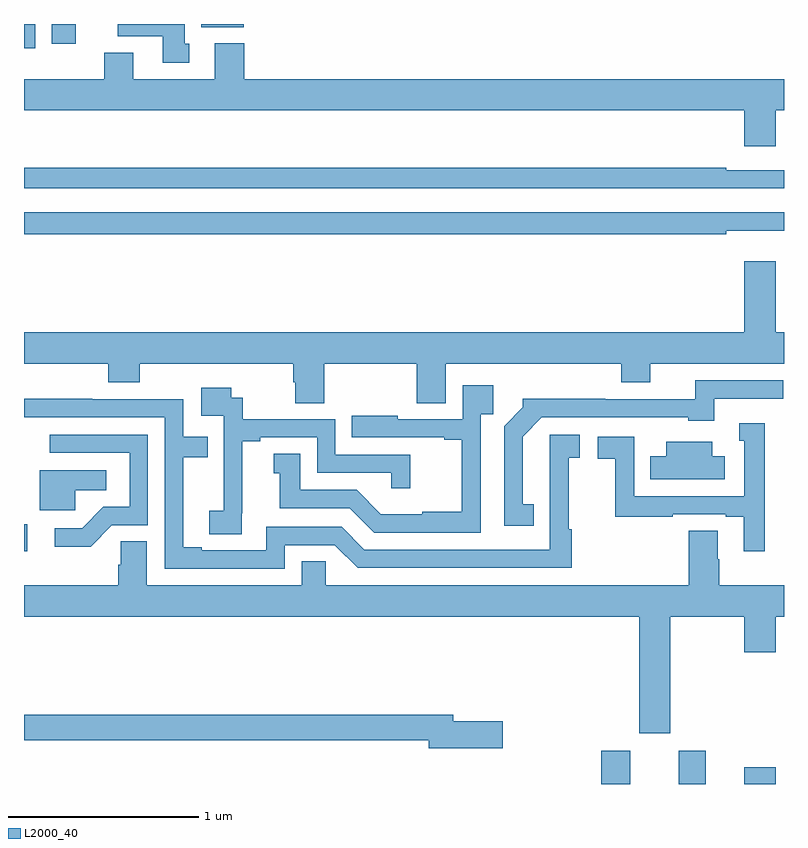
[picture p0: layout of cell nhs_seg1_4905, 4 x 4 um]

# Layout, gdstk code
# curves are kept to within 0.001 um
import gdstk
lib = gdstk.Library(unit=1e-6, precision=1e-09)
def R(c, l, rs):  # rectangles x0, y0, x1, y1
    for r in rs: c.add(gdstk.rectangle(r[:2], r[2:], *l))
def P(c, l, *ps):  # polygons
    for p in ps: c.add(gdstk.Polygon(p, *l))
L2000_40 = (2000, 40)

nhs_seg1_4905 = lib.new_cell('nhs_seg1_4905')
R(nhs_seg1_4905, L2000_40, [(380.039,536.199,380.191,536.374), (380.447,536.199,380.587,536.374), (380.792,536.199,380.956,536.287), (377,537.423,377.017,537.567), (377,540.072,377.059,540.199), (377.147,540.096,377.272,540.199), (377.933,540.182,378.156,540.199)])
P(nhs_seg1_4905, L2000_40, [(377.869,540.096),(377.845,540.096),(377.845,540.199),(377.494,540.199),(377.494,540.134),(377.729,540.134),(377.729,539.994),(377.869,539.994)],
  [(380.956,539.744),(381,539.744),(381,539.908),(378.158,539.908),(378.158,540.097),(378.005,540.097),(378.005,539.908),(377.575,539.908),(377.575,540.049),(377.423,540.049),(377.423,539.908),(377,539.908),(377,539.744),(380.792,539.744),(380.792,539.556),(380.956,539.556)],
  [(381,539.43),(380.696,539.43),(380.696,539.443),(377,539.443),(377,539.334),(381,539.334)],
  [(380.696,539.111),(381,539.111),(381,539.208),(377,539.208),(377,539.092),(380.696,539.092)],
  [(378.581,538.412),(379.067,538.412),(379.067,538.204),(379.219,538.204),(379.219,538.412),(380.144,538.412),(380.144,538.313),(380.296,538.313),(380.296,538.412),(381,538.412),(381,538.576),(380.956,538.576),(380.956,538.951),(380.792,538.951),(380.792,538.576),(377,538.576),(377,538.412),(377.444,538.412),(377.444,538.313),(377.609,538.313),(377.609,538.412),(378.416,538.412),(378.416,538.314),(378.428,538.314),(378.428,538.204),(378.581,538.204)],
  [(379.682,537.671),(379.624,537.671),(379.624,538.027),(379.725,538.128),(380.496,538.128),(380.496,538.112),(380.632,538.112),(380.632,538.227),(380.996,538.227),(380.996,538.323),(380.533,538.323),(380.533,538.224),(380.06,538.224),(380.06,538.226),(379.626,538.226),(379.626,538.181),(379.527,538.082),(379.527,537.558),(379.682,537.558)],
  [(379.404,538.145),(379.469,538.145),(379.469,538.297),(379.308,538.297),(379.308,538.119),(378.967,538.119),(378.967,538.138),(378.724,538.138),(378.724,538.023),(379.211,538.023),(379.211,538.011),(379.303,538.011),(379.303,537.631),(379.097,537.631),(379.097,537.619),(378.878,537.619),(378.75,537.747),(378.454,537.747),(378.454,537.938),(378.314,537.938),(378.314,537.835),(378.347,537.835),(378.347,537.651),(378.714,537.651),(378.843,537.522),(379.404,537.522)],
  [(378.146,537.625),(378.148,537.625),(378.148,538.003),(378.244,538.003),(378.244,538.023),(378.543,538.023),(378.543,537.837),(378.933,537.837),(378.933,537.756),(379.034,537.756),(379.034,537.933),(378.639,537.933),(378.639,538.119),(378.152,538.119),(378.152,538.233),(378.09,538.233),(378.09,538.285),(377.934,538.285),(377.934,538.137),(378.051,538.137),(378.051,537.833),(378.05,537.833),(378.05,537.636),(377.976,537.636),(377.976,537.514),(378.146,537.514)],
  [(378.372,537.456),(378.636,537.456),(378.756,537.336),(379.883,537.336),(379.883,537.539),(379.866,537.539),(379.866,537.915),(379.924,537.915),(379.924,538.036),(379.766,538.036),(379.767,537.432),(378.792,537.432),(378.672,537.552),(378.276,537.552),(378.276,537.429),(377.935,537.429),(377.935,537.444),(377.839,537.444),(377.839,537.918),(377.966,537.918),(377.966,538.026),(377.838,538.026),(377.838,538.224),(377.36,538.224),(377.36,538.226),(377,538.226),(377,538.128),(377.742,538.128),(377.742,537.333),(378.372,537.333)],
  [(380.899,538.099),(380.765,538.099),(380.765,538.005),(380.79,538.005),(380.79,537.714),(380.211,537.714),(380.211,538.026),(380.019,538.026),(380.019,537.91),(380.113,537.91),(380.113,537.606),(380.414,537.606),(380.414,537.618),(380.693,537.618),(380.693,537.606),(380.789,537.606),(380.789,537.423),(380.899,537.423)],
  [(377.463,537.561),(377.652,537.561),(377.652,538.038),(377.136,538.038),(377.136,537.942),(377.556,537.942),(377.556,537.657),(377.418,537.657),(377.307,537.546),(377.163,537.546),(377.163,537.449),(377.35,537.449)],
  [(380.689,537.925),(380.623,537.925),(380.623,538),(380.381,538),(380.381,537.925),(380.296,537.925),(380.296,537.803),(380.689,537.803)],
  [(377.271,537.746),(377.434,537.746),(377.434,537.85),(377.084,537.85),(377.084,537.639),(377.271,537.639)],
  [(380.401,537.08),(380.792,537.08),(380.792,536.892),(380.956,536.892),(380.956,537.08),(381,537.08),(381,537.244),(380.658,537.244),(380.658,537.383),(380.65,537.383),(380.65,537.533),(380.498,537.533),(380.498,537.244),(378.588,537.244),(378.588,537.371),(378.461,537.371),(378.461,537.244),(377.647,537.244),(377.647,537.476),(377.508,537.476),(377.508,537.353),(377.495,537.353),(377.495,537.244),(377,537.244),(377,537.08),(380.237,537.08),(380.237,536.466),(380.401,536.466)],
  [(379.519,536.528),(379.258,536.528),(379.258,536.564),(377,536.564),(377,536.428),(379.13,536.428),(379.13,536.386),(379.519,536.386)])

lib.write_gds('nhs_seg1_4905.gds')
